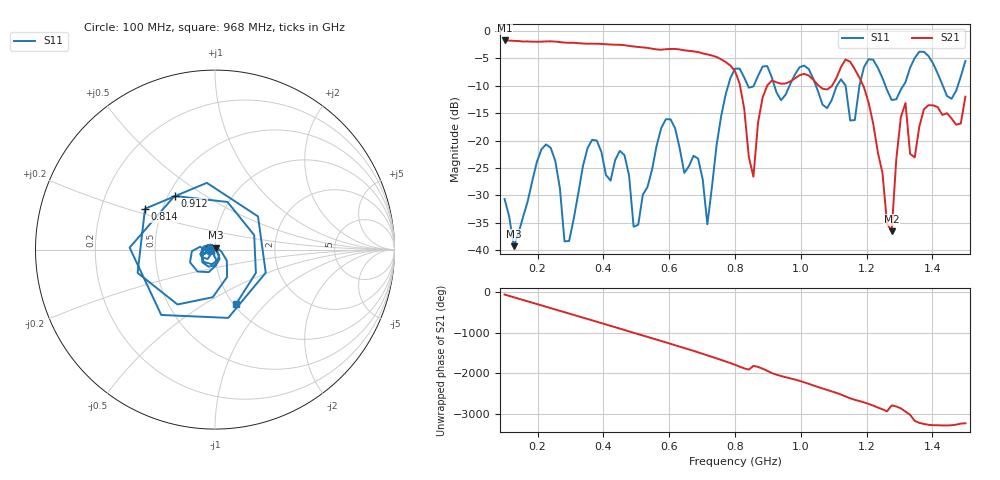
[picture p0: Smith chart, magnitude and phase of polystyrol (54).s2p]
! NanoVNA-App
! Date: 2025-09-26 09:42:18
! Start: 100MHz Stop: 1,5GHz Points: 101
! S-Parameter data: F S11 S21 S12 S22
# Hz S RI R 50
!  Frequency  S11_Real  S11_Imag  S21_Real  S21_Imag  S12_Real  S12_Imag  S22_Real  S22_Imag
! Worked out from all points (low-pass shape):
!   101 points, 100 MHz to 1.5 GHz, reference 50 ohm
!   highest |S21| = -1.79 dB at 100 MHz (marker M1); lowest = -36.5 dB at 1.276 GHz (marker M2)
!   |S21| within 3 dB of the highest: start of sweep to 743.5 MHz
!   lowest |S11| = -39.2 dB at 128 MHz (marker M3), VSWR 1.02, Z = 50.3 + j1.06 ohm
!   |S11| at or under -10 dB: start of sweep to 779.4 MHz; 1.046 GHz to 1.11 GHz (64.43 MHz wide, 5.98 % of centre); 1.136 GHz to 1.178 GHz (42.24 MHz wide, 3.65 % of centre)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
!   S12 and S22 are empty: the file has one direction only
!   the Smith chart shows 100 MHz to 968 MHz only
!   S11 on the Smith chart (normalised r, x): 100 MHz: 0.94, -0.01; 814 MHz: 0.40, +0.23; 912 MHz: 0.54, +0.38; 968 MHz: 1.02, -0.70
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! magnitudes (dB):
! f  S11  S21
! 100 MHz  -30.7  -1.8
! 128 MHz  -39.2  -1.9
! 212 MHz  -21.6  -2.0
! 254 MHz  -23.7  -2.0
! 282 MHz  -38.3  -2.2
! 338 MHz  -24.6  -2.3
! 464 MHz  -22.6  -2.6
! 506 MHz  -35.3  -3.0
! 576 MHz  -17.7  -3.5
! 688 MHz  -23.3  -3.9
! 716 MHz  -35.2  -4.3
! 800 MHz  -6.9  -7.4
! 814 MHz  -6.9  -9.6
! 856 MHz  -10.2  -26.6
! 912 MHz  -8.5  -9.1
! 968 MHz  -9.7  -9.3
! 1.038 GHz  -8.8  -8.9
! 1.178 GHz  -10.0  -8.5
! 1.276 GHz  -12.6  -36.5
! 1.318 GHz  -9.4  -13.2
! 1.346 GHz  -5.0  -23.1
! 1.5 GHz  -5.5  -12.0
